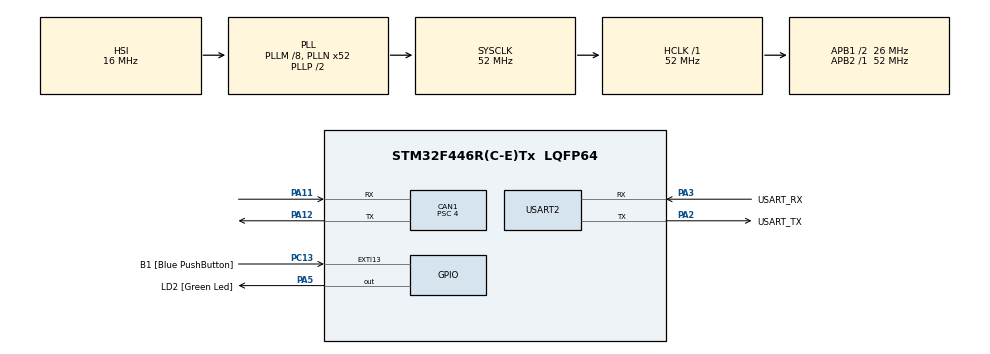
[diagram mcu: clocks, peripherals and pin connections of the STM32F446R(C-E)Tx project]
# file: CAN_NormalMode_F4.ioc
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CAN1.BS1=CAN_BS1_10TQ
CAN1.BS2=CAN_BS2_2TQ
CAN1.CalculateBaudRate=500000
CAN1.CalculateTimeBit=2000
CAN1.CalculateTimeQuantum=153.84615384615384
CAN1.NART=ENABLE
CAN1.Prescaler=4
Mcu.Family=STM32F4
Mcu.Name=STM32F446R(C-E)Tx
Mcu.Package=LQFP64
NVIC.CAN1_RX0_IRQn=true\:0\:0\:false\:false\:true\:true\:true\:true
NVIC.CAN1_RX1_IRQn=true\:0\:0\:false\:false\:true\:true\:true\:true
NVIC.CAN1_SCE_IRQn=true\:0\:0\:false\:false\:true\:true\:true\:true
NVIC.CAN1_TX_IRQn=true\:0\:0\:false\:false\:true\:true\:true\:true
NVIC.EXTI15_10_IRQn=true\:0\:0\:false\:false\:true\:true\:true\:true
NVIC.PriorityGroup=NVIC_PRIORITYGROUP_0
NVIC.TIM6_DAC_IRQn=true\:0\:1\:false\:false\:true\:true\:true\:true
PA11.Mode=CAN_Activate
PA11.Signal=CAN1_RX
PA12.Mode=CAN_Activate
PA12.Signal=CAN1_TX
PA13.GPIO_Label=TMS
PA13.Mode=Serial_Wire
PA13.Signal=SYS_JTMS-SWDIO
PA14.GPIO_Label=TCK
PA14.Mode=Serial_Wire
PA14.Signal=SYS_JTCK-SWCLK
PA2.GPIO_Label=USART_TX
PA2.Mode=Asynchronous
PA2.Signal=USART2_TX
PA3.GPIO_Label=USART_RX
PA3.Mode=Asynchronous
PA3.Signal=USART2_RX
PA5.GPIO_Label=LD2 [Green Led]
PA5.Signal=GPIO_Output
PB3.GPIO_Label=SWO
PB3.Signal=SYS_JTDO-SWO
PC13.GPIO_Label=B1 [Blue PushButton]
PC13.GPIO_ModeDefaultEXTI=GPIO_MODE_IT_FALLING
PC13.Signal=GPXTI13
PC14-OSC32_IN.Mode=LSE-External-Oscillator
PC14-OSC32_IN.Signal=RCC_OSC32_IN
PC15-OSC32_OUT.Mode=LSE-External-Oscillator
PC15-OSC32_OUT.Signal=RCC_OSC32_OUT
PH0-OSC_IN.Mode=HSE-External-Oscillator
PH0-OSC_IN.Signal=RCC_OSC_IN
PH1-OSC_OUT.Mode=HSE-External-Oscillator
PH1-OSC_OUT.Signal=RCC_OSC_OUT
ProjectManager.HeapSize=0x200
ProjectManager.StackSize=0x400
ProjectManager.TargetToolchain=STM32CubeIDE
RCC.48MHZClocksFreq_Value=84000000
RCC.AHBFreq_Value=52000000
RCC.APB1CLKDivider=RCC_HCLK_DIV2
RCC.APB1Freq_Value=26000000
RCC.APB1TimFreq_Value=52000000
RCC.APB2Freq_Value=52000000
RCC.APB2TimFreq_Value=52000000
RCC.CortexFreq_Value=52000000
RCC.FLatency-AdvancedSettings=FLASH_LATENCY_1
RCC.HCLKFreq_Value=52000000
RCC.HSE_VALUE=8000000
RCC.HSI_VALUE=16000000
RCC.PLLM=8
RCC.PLLN=52
RCC.SYSCLKFreq_VALUE=52000000
RCC.SYSCLKSource=RCC_SYSCLKSOURCE_PLLCLK
RCC.USBFreq_Value=52000000
RCC.VCOOutputFreq_Value=104000000
TIM6.Period=10000 - 1
TIM6.Prescaler=5000 - 1
USART2.VirtualMode=VM_ASYNC
VP_TIM6_VS_ClockSourceINT.Mode=Enable_Timer
board=NUCLEO-F446RE

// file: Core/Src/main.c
/* USER CODE BEGIN Header */
/**
  ******************************************************************************
  * @file           : main.c
  * @brief          : Main program body
  ******************************************************************************
  * @attention
  *
  * Copyright (c) 2024 STMicroelectronics.
  * All rights reserved.
  *
  * This software is licensed under terms that can be found in the LICENSE file
  * in the root directory of this software component.
  * If no LICENSE file comes with this software, it is provided AS-IS.
  *
  ******************************************************************************
  */
/* USER CODE END Header */
#include "main.h"

CAN_HandleTypeDef hcan1;

TIM_HandleTypeDef htim6;

UART_HandleTypeDef huart2;

void SystemClock_Config(void);
static void MX_GPIO_Init(void);
static void MX_USART2_UART_Init(void);
static void MX_CAN1_Init(void);
static void MX_TIM6_Init(void);
/* USER CODE BEGIN PFP */

void CAN1_Tx(void);
void CAN1_Rx(void);
void CAN1_FiterConfig(void);

/* USER CODE END PFP */

int main(void)
{

  /* MCU Configuration--------------------------------------------------------*/

  /* Reset of all peripherals, Initializes the Flash interface and the Systick. */
  HAL_Init();

  /* Configure the system clock */
  SystemClock_Config();

  /* Initialize all configured peripherals */
  MX_GPIO_Init();
  MX_USART2_UART_Init();
  MX_CAN1_Init();
  MX_TIM6_Init();
  /* USER CODE BEGIN 2 */

//  if (HAL_CAN_ActivateNotification(&hcan1, CAN_IT_TX_MAILBOX_EMPTY | CAN_IT_RX_FIFO0_MSG_PENDING | CAN_IT_RX_FIFO1_MSG_PENDING) != HAL_OK)
//  {
//	  Error_Handler();
//  }

  CAN1_FiterConfig();

  HAL_CAN_Start(&hcan1);

  /* USER CODE END 2 */

  /* Infinite loop */
  while (1)
  {

  }
}

void SystemClock_Config(void)
{
  RCC_OscInitTypeDef RCC_OscInitStruct = {0};
  RCC_ClkInitTypeDef RCC_ClkInitStruct = {0};

  /** Configure the main internal regulator output voltage
  */
  __HAL_RCC_PWR_CLK_ENABLE();
  __HAL_PWR_VOLTAGESCALING_CONFIG(PWR_REGULATOR_VOLTAGE_SCALE3);

  /** Initializes the RCC Oscillators according to the specified parameters
  * in the RCC_OscInitTypeDef structure.
  */
  RCC_OscInitStruct.OscillatorType = RCC_OSCILLATORTYPE_HSI;
  RCC_OscInitStruct.HSIState = RCC_HSI_ON;
  RCC_OscInitStruct.HSICalibrationValue = RCC_HSICALIBRATION_DEFAULT;
  RCC_OscInitStruct.PLL.PLLState = RCC_PLL_ON;
  RCC_OscInitStruct.PLL.PLLSource = RCC_PLLSOURCE_HSI;
  RCC_OscInitStruct.PLL.PLLM = 8;
  RCC_OscInitStruct.PLL.PLLN = 52;
  RCC_OscInitStruct.PLL.PLLP = RCC_PLLP_DIV2;
  RCC_OscInitStruct.PLL.PLLQ = 2;
  RCC_OscInitStruct.PLL.PLLR = 2;
  if (HAL_RCC_OscConfig(&RCC_OscInitStruct) != HAL_OK)
  {
    Error_Handler();
  }

  /** Initializes the CPU, AHB and APB buses clocks
  */
  RCC_ClkInitStruct.ClockType = RCC_CLOCKTYPE_HCLK|RCC_CLOCKTYPE_SYSCLK
                              |RCC_CLOCKTYPE_PCLK1|RCC_CLOCKTYPE_PCLK2;
  RCC_ClkInitStruct.SYSCLKSource = RCC_SYSCLKSOURCE_PLLCLK;
  RCC_ClkInitStruct.AHBCLKDivider = RCC_SYSCLK_DIV1;
  RCC_ClkInitStruct.APB1CLKDivider = RCC_HCLK_DIV2;
  RCC_ClkInitStruct.APB2CLKDivider = RCC_HCLK_DIV1;

  if (HAL_RCC_ClockConfig(&RCC_ClkInitStruct, FLASH_LATENCY_1) != HAL_OK)
  {
    Error_Handler();
  }
}

static void MX_CAN1_Init(void)
{

  hcan1.Instance = CAN1;
  hcan1.Init.Prescaler = 4;
  hcan1.Init.Mode = CAN_MODE_NORMAL;
  hcan1.Init.SyncJumpWidth = CAN_SJW_1TQ;
  hcan1.Init.TimeSeg1 = CAN_BS1_10TQ;
  hcan1.Init.TimeSeg2 = CAN_BS2_2TQ;
  hcan1.Init.TimeTriggeredMode = DISABLE;
  hcan1.Init.AutoBusOff = DISABLE;
  hcan1.Init.AutoWakeUp = DISABLE;
  hcan1.Init.AutoRetransmission = ENABLE;
  hcan1.Init.ReceiveFifoLocked = DISABLE;
  hcan1.Init.TransmitFifoPriority = DISABLE;
  if (HAL_CAN_Init(&hcan1) != HAL_OK)
  {
    Error_Handler();
  }

}

static void MX_TIM6_Init(void)
{

  TIM_MasterConfigTypeDef sMasterConfig = {0};

  htim6.Instance = TIM6;
  htim6.Init.Prescaler = 5000 - 1;
  htim6.Init.CounterMode = TIM_COUNTERMODE_UP;
  htim6.Init.Period = 10000 - 1;
  htim6.Init.AutoReloadPreload = TIM_AUTORELOAD_PRELOAD_DISABLE;
  if (HAL_TIM_Base_Init(&htim6) != HAL_OK)
  {
    Error_Handler();
  }
  sMasterConfig.MasterOutputTrigger = TIM_TRGO_RESET;
  sMasterConfig.MasterSlaveMode = TIM_MASTERSLAVEMODE_DISABLE;
  if (HAL_TIMEx_MasterConfigSynchronization(&htim6, &sMasterConfig) != HAL_OK)
  {
    Error_Handler();
  }

}

static void MX_USART2_UART_Init(void)
{

  huart2.Instance = USART2;
  huart2.Init.BaudRate = 115200;
  huart2.Init.WordLength = UART_WORDLENGTH_8B;
  huart2.Init.StopBits = UART_STOPBITS_1;
  huart2.Init.Parity = UART_PARITY_NONE;
  huart2.Init.Mode = UART_MODE_TX_RX;
  huart2.Init.HwFlowCtl = UART_HWCONTROL_NONE;
  huart2.Init.OverSampling = UART_OVERSAMPLING_16;
  if (HAL_UART_Init(&huart2) != HAL_OK)
  {
    Error_Handler();
  }

}

static void MX_GPIO_Init(void)
{
  GPIO_InitTypeDef GPIO_InitStruct = {0};

  /* GPIO Ports Clock Enable */
  __HAL_RCC_GPIOC_CLK_ENABLE();
  __HAL_RCC_GPIOH_CLK_ENABLE();
  __HAL_RCC_GPIOA_CLK_ENABLE();
  __HAL_RCC_GPIOB_CLK_ENABLE();

  /*Configure GPIO pin Output Level */
  HAL_GPIO_WritePin(LD2_GPIO_Port, LD2_Pin, GPIO_PIN_RESET);

  /*Configure GPIO pin : B1_Pin */
  GPIO_InitStruct.Pin = B1_Pin;
  GPIO_InitStruct.Mode = GPIO_MODE_IT_FALLING;
  GPIO_InitStruct.Pull = GPIO_NOPULL;
  HAL_GPIO_Init(B1_GPIO_Port, &GPIO_InitStruct);

  /*Configure GPIO pin : LD2_Pin */
  GPIO_InitStruct.Pin = LD2_Pin;
  GPIO_InitStruct.Mode = GPIO_MODE_OUTPUT_PP;
  GPIO_InitStruct.Pull = GPIO_NOPULL;
  GPIO_InitStruct.Speed = GPIO_SPEED_FREQ_LOW;
  HAL_GPIO_Init(LD2_GPIO_Port, &GPIO_InitStruct);

  /* EXTI interrupt init*/
  HAL_NVIC_SetPriority(EXTI15_10_IRQn, 0, 0);
  HAL_NVIC_EnableIRQ(EXTI15_10_IRQn);

}

/* USER CODE BEGIN 4 */

void CAN1_Tx(void)
{
	volatile static uint8_t Local_u8LedNum = 0U;
	CAN_TxHeaderTypeDef Local_CanTxHdr;
	uint32_t Local_u32Mailbox;

	Local_CanTxHdr.StdId = 0x65DU;
	Local_CanTxHdr.IDE = CAN_ID_STD;
	Local_CanTxHdr.RTR = CAN_RTR_DATA;
	Local_CanTxHdr.DLC = 1U;

	Local_u8LedNum++;

	if (HAL_CAN_AddTxMessage(&hcan1, &Local_CanTxHdr, (uint8_t *)&Local_u8LedNum, &Local_u32Mailbox) != HAL_OK)
	{
		Error_Handler();
	}

	if (Local_u8LedNum == 4U)
	{
		Local_u8LedNum = 0U;
	}

	HAL_GPIO_TogglePin(LD2_GPIO_Port, LD2_Pin);
}

void CAN1_Rx(void)
{
//	CAN_RxHeaderTypeDef Local_CanRxHdr;
//	uint8_t Local_au8ReceivedData[5U];
//	char Local_chReceivedMsg[50];
//
//	/* Wait until the receiver FIFO receives any message */
//	while (!HAL_CAN_GetRxFifoFillLevel(&hcan1, CAN_RX_FIFO0));
//
//	if (HAL_CAN_GetRxMessage(&hcan1, CAN_RX_FIFO0, &Local_CanRxHdr, (uint8_t *)&Local_au8ReceivedData) != HAL_OK)
//	{
//		Error_Handler();
//	}
//
//	sprintf(Local_chReceivedMsg, "Message received: %s\r\n", (char*)&Local_au8ReceivedData);
//
//	HAL_UART_Transmit(&huart2, (uint8_t *)&Local_chReceivedMsg, strlen((char*)&Local_chReceivedMsg), HAL_MAX_DELAY);
}

void CAN1_FiterConfig(void)
{
	CAN_FilterTypeDef Local_FilterConfig =
	{
			.FilterActivation = CAN_FILTER_ENABLE,
			.FilterBank = 0U,
			.FilterFIFOAssignment = CAN_RX_FIFO0,
			.FilterMaskIdHigh = 0U,
			.FilterMaskIdLow = 0U,
			.FilterMode = CAN_FILTERMODE_IDMASK,
			.FilterScale = CAN_FILTERSCALE_32BIT
	};

	if (HAL_CAN_ConfigFilter(&hcan1, &Local_FilterConfig) != HAL_OK)
	{
		Error_Handler();
	}
}

//void HAL_CAN_TxMailbox0CompleteCallback(CAN_HandleTypeDef *hcan)
//{
//	char Local_chTransmitMsg[50];
//
//	sprintf(Local_chTransmitMsg, "Message transmitted: MB0\r\n");
//
//	HAL_UART_Transmit(&huart2, (uint8_t *)Local_chTransmitMsg, strlen(Local_chTransmitMsg), HAL_MAX_DELAY);
//}
//
//void HAL_CAN_TxMailbox1CompleteCallback(CAN_HandleTypeDef *hcan)
//{
//	char Local_chTransmitMsg[50];
//
//	sprintf(Local_chTransmitMsg, "Message transmitted: MB1\r\n");
//
//	HAL_UART_Transmit(&huart2, (uint8_t *)Local_chTransmitMsg, strlen(Local_chTransmitMsg), HAL_MAX_DELAY);
//}
//
//void HAL_CAN_TxMailbox2CompleteCallback(CAN_HandleTypeDef *hcan)
//{
//	char Local_chTransmitMsg[50];
//
//	sprintf(Local_chTransmitMsg, "Message transmitted: MB2\r\n");
//
//	HAL_UART_Transmit(&huart2, (uint8_t *)Local_chTransmitMsg, strlen(Local_chTransmitMsg), HAL_MAX_DELAY);
//}
//
//void HAL_CAN_RxFifo0MsgPendingCallback(CAN_HandleTypeDef *hcan)
//{
//	CAN_RxHeaderTypeDef Local_CanRxHdr;
//	uint8_t Local_au8ReceivedData[5U];
//	char Local_chReceivedMsg[50];
//
//	if (HAL_CAN_GetRxMessage(&hcan1, CAN_RX_FIFO0, &Local_CanRxHdr, (uint8_t *)&Local_au8ReceivedData) != HAL_OK)
//	{
//		Error_Handler();
//	}
//
//	sprintf(Local_chReceivedMsg, "Message received: %s\r\n", (char*)&Local_au8ReceivedData);
//
//	HAL_UART_Transmit(&huart2, (uint8_t *)&Local_chReceivedMsg, strlen((char*)&Local_chReceivedMsg), HAL_MAX_DELAY);
//}

void HAL_TIM_PeriodElapsedCallback(TIM_HandleTypeDef *htim)
{
	CAN1_Tx();
}

void HAL_GPIO_EXTI_Callback(uint16_t GPIO_Pin)
{
	volatile static uint8_t Local_u8Counter = 0U;

	Local_u8Counter++;

	if (Local_u8Counter == 4U)
	{
		CAN_TxHeaderTypeDef Local_CanTxHdr;
		uint32_t Local_u32Mailbox;
		uint8_t Local_au8PlaceHolder[8U] = {0};

		Local_CanTxHdr.StdId = 0x651U;
		Local_CanTxHdr.IDE = CAN_ID_STD;
		Local_CanTxHdr.RTR = CAN_RTR_REMOTE;
		Local_CanTxHdr.DLC = 0U;

		if (HAL_CAN_AddTxMessage(&hcan1, &Local_CanTxHdr, (uint8_t *)&Local_au8PlaceHolder, &Local_u32Mailbox) != HAL_OK)
		{
			Error_Handler();
		}
		Local_u8Counter = 0U;
	}
	else
	{
		HAL_TIM_Base_Start_IT(&htim6);
	}

}

/* USER CODE END 4 */

void Error_Handler(void)
{
  __disable_irq();
  while (1)
  {
  }
}
